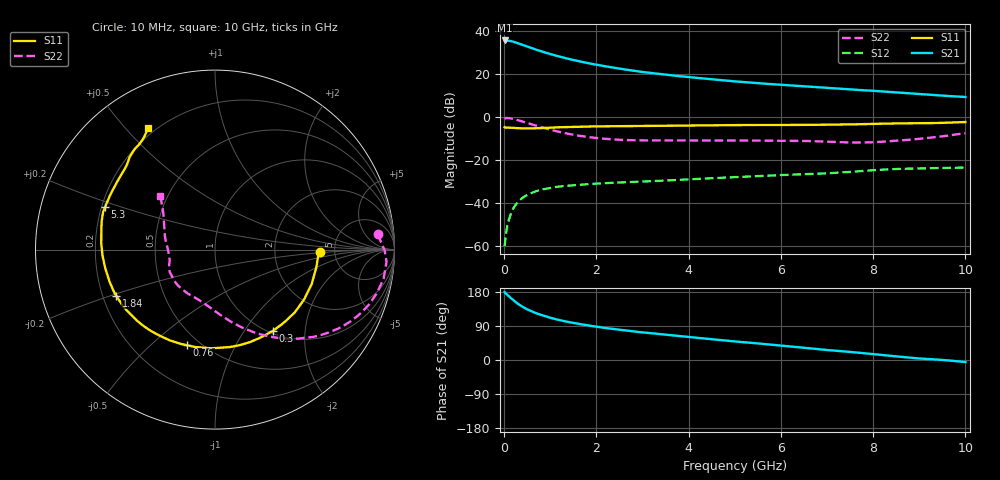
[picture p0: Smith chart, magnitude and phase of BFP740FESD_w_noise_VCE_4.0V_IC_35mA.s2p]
! (c) 2016  Infineon Technologies AG, Munich
! Infineon Technologies  Discrete & RF Semiconductors
! BFP740FESD
! VCE =  4.0 V,  IC =  35 mA
! Common Emitter S-Parameters:  Jan 2016
# GHz  S  MA  R  50
!  f  S11  S21  S12  S22
! GHz  MAG  ANG  MAG  ANG  MAG  ANG  MAG  ANG
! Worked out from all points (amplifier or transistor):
!   233 points, 10 MHz to 10 GHz, reference 50 ohm
!   highest |S21| = 35.7 dB at 10 MHz (marker M1)
!   |S21| within 3 dB of that: start of sweep to 524.6 MHz
!   unconditionally stable (mu >= 1): start of sweep to 15.88 MHz; 5.12 GHz to end of sweep
!   at 200 MHz: K = 0.22, MSG = 38.8 dB, |S12| = -42.4 dB
!   at 1.74 GHz: K = 0.58, MSG = 28.4 dB, |S12| = -31.2 dB
!   at 10 GHz: K = 1.12, MAG = 14.3 dB, |S12| = -23.5 dB
!   lowest NFmin = 1.06 dB at 450 MHz
!   S11 on the Smith chart (normalised r, x): 10 MHz: 3.80, -0.15; 300 MHz: 1.04, -1.36; 760 MHz: 0.43, -0.66; 1.84 GHz: 0.26, -0.21; 5.3 GHz: 0.21, +0.18; 10 GHz: 0.17, +0.58
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0.01  0.584 -1.3  60.91 179.5  0.001 45.1  0.9111 5.3
0.02  0.5757 -3.7  60.84 177.1  0.0012 62.3  0.9457 -0.4
0.1  0.5719 -19.7  60.04 168.7  0.004 73.3  0.9531 -9.7
0.15  0.569 -29.2  58.73 162.9  0.0058 72.7  0.9346 -15.0
0.22  0.5618 -41.5  56.05 155.7  0.0082 68.8  0.8983 -21.5
0.3  0.5561 -54.7  52.71 148.2  0.0107 65.2  0.8514 -28.3
0.4  0.5511 -69.0  48.25 140.4  0.0133 60.6  0.7894 -35.5
0.5  0.5492 -81.4  44.08 133.7  0.0155 56.7  0.7306 -41.8
0.6  0.5503 -92.1  40.33 127.9  0.0174 53.3  0.6763 -47.2
0.76  0.5553 -106.2  35.27 120.6  0.0199 48.8  0.6021 -54.7
0.92  0.5655 -117.7  31.18 114.3  0.0219 45.3  0.5398 -61.3
1.16  0.58 -131.2  26.35 106.5  0.0241 41.3  0.4647 -70.1
1.4  0.5917 -141.6  22.63 100.1  0.0257 38.4  0.4082 -78.0
1.68  0.6031 -150.8  19.42 93.9  0.0271 36.2  0.3627 -85.8
1.84  0.6077 -155.0  17.89 90.9  0.0278 35.6  0.3438 -89.9
2.6  0.621 -170.9  12.97 78.2  0.0306 33.8  0.2947 -107.3
3.4  0.6328 178.1  10 68.1  0.0333 34.4  0.2883 -118.9
5.1  0.6573 160.6  6.675 48.0  0.0408 35.7  0.2869 -136.5
5.3  0.6567 158.9  6.416 45.9  0.0417 35.6  0.2864 -138.4
6.8  0.6658 143.2  4.957 28.8  0.0486 35.1  0.2748 -157.8
8.4  0.7132 129.6  3.839 10.7  0.0617 31.9  0.2787 170.0
10  0.7717 118.8  2.946 -5.3  0.0672 23.5  0.4249 135.7
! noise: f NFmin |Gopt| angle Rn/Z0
0.45  1.06  0.21  -171  0.08
2.4  1.1  0.22  -158  0.09
5.5  1.26  0.25  -159  0.1
10  1.79  0.43  -113  0.25
